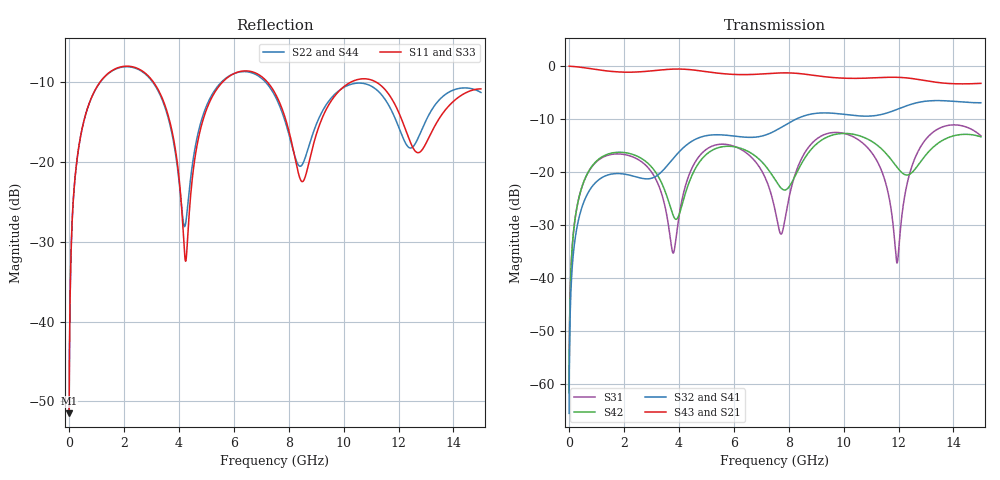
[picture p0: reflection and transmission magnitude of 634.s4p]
! Created with skrf 1.8.0 (http://scikit-rf.org).
# GHz S RI R 50.0
!freq ReS11 ImS11 ReS12 ImS12 ReS13 ImS13
! ReS14 ImS14
! ReS21 ImS21 ReS22 ImS22 ReS23 ImS23
! ReS24 ImS24
! ReS31 ImS31 ReS32 ImS32 ReS33 ImS33
! ReS34 ImS34
! ReS41 ImS41 ReS42 ImS42 ReS43 ImS43
! ReS44 ImS44
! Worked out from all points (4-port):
!   2499 points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, 5 MHz to 15 GHz, reference 50 ohm
!   strongest paths, dB at 5 MHz, 3.476 GHz, 7.19 GHz, 11.1 GHz, 15 GHz:
!     S43: 0.0, -0.7, -1.4, -2.2, -3.3
!     S21: 0.0, -0.7, -1.4, -2.2, -3.3
!     S32: -65.5, -19.4, -13.0, -9.4, -6.9
!     S41: -65.5, -19.4, -13.0, -9.4, -7.0
!     S42: -61.6, -23.3, -19.1, -14.4, -13.4
!     S31: -61.6, -26.0, -21.6, -16.9, -13.2
!   lowest |S11| = -51.5 dB at 5 MHz (marker M1), VSWR 1.01, Z = 50.2 + j0.162 ohm
!   |S11| at or under -10 dB: 3.069 GHz to 5.6 GHz (2.53 GHz wide, 58.4 % of centre); 7.219 GHz to 10.28 GHz (3.065 GHz wide, 35 % of centre); 11.17 GHz to end of sweep (the widest 3 of 4)
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0.005  0.00212 0.00161  0.9978 -0.00412  0.000107 0.000821  -0.000104 -0.000519
       0.9978 -0.00412  0.00212 0.00161  -0.000104 -0.000519  0.000108 0.000821
       0.000107 0.000821  -0.000104 -0.000519  0.00212 0.00161  0.9978 -0.00412
       -0.000104 -0.000519  0.000108 0.000821  0.9978 -0.00412  0.00212 0.00161
0.2626094  0.0286 0.0887  0.9613 -0.2153  0.0123 0.0406  -0.0106 -0.0252
           0.9613 -0.2153  0.0285 0.0887  -0.0106 -0.0252  0.0131 0.0404
           0.0123 0.0406  -0.0106 -0.0252  0.0286 0.0887  0.9613 -0.2153
           -0.0106 -0.0252  0.0131 0.0404  0.9613 -0.2153  0.0285 0.0887
1.269279  0.291 0.1697  0.5085 -0.7511  0.1259 0.0598  -0.0906 5.48e-05
          0.5085 -0.7511  0.2881 0.1718  -0.0907 0.000128  0.1342 0.0473
          0.1259 0.0598  -0.0907 0.000128  0.2909 0.1697  0.5085 -0.7511
          -0.0906 5.48e-05  0.1342 0.0473  0.5085 -0.7511  0.2881 0.1718
4.170488  0.0237 -0.0243  -0.9295 -0.1004  0.0248 0.0583  -0.0153 0.1694
          -0.9295 -0.1004  0.0392 -0.0131  -0.0143 0.1696  -0.0258 0.0484
          0.0248 0.0583  -0.0143 0.1696  0.0232 -0.0238  -0.9295 -0.1004
          -0.0153 0.1694  -0.0258 0.0484  -0.9295 -0.1004  0.0394 -0.0124
8.422259  0.0737 -0.0248  0.8342 0.1527  0.00249 0.1264  0.0562 -0.3244
          0.8342 0.1527  0.0934 -0.00759  0.0516 -0.3248  -0.0337 0.1093
          0.00249 0.1264  0.0516 -0.3248  0.0764 -0.0236  0.8341 0.1537
          0.0562 -0.3244  -0.0337 0.1093  0.8341 0.1537  0.09 -0.00615
11.19842  0.2996 -0.0945  -0.1384 -0.7634  0.0968 -0.0866  -0.3251 0.1063
          -0.1384 -0.7634  0.2697 -0.0841  -0.3236 0.1117  0.0789 -0.1635
          0.0968 -0.0866  -0.3236 0.1117  0.2969 -0.0961  -0.1358 -0.7645
          -0.3251 0.1063  0.0789 -0.1635  -0.1358 -0.7645  0.2698 -0.0802
15  0.2844 -0.0275  -0.1704 0.6652  0.2061 -0.0762  0.4454 0.0392
    -0.1704 0.6652  0.2647 -0.0604  0.45 0.0276  0.1721 -0.1287
    0.2061 -0.0762  0.45 0.0276  0.2791 -0.0148  -0.1772 0.6635
    0.4454 0.0392  0.1721 -0.1287  -0.1772 0.6635  0.27 -0.0682
